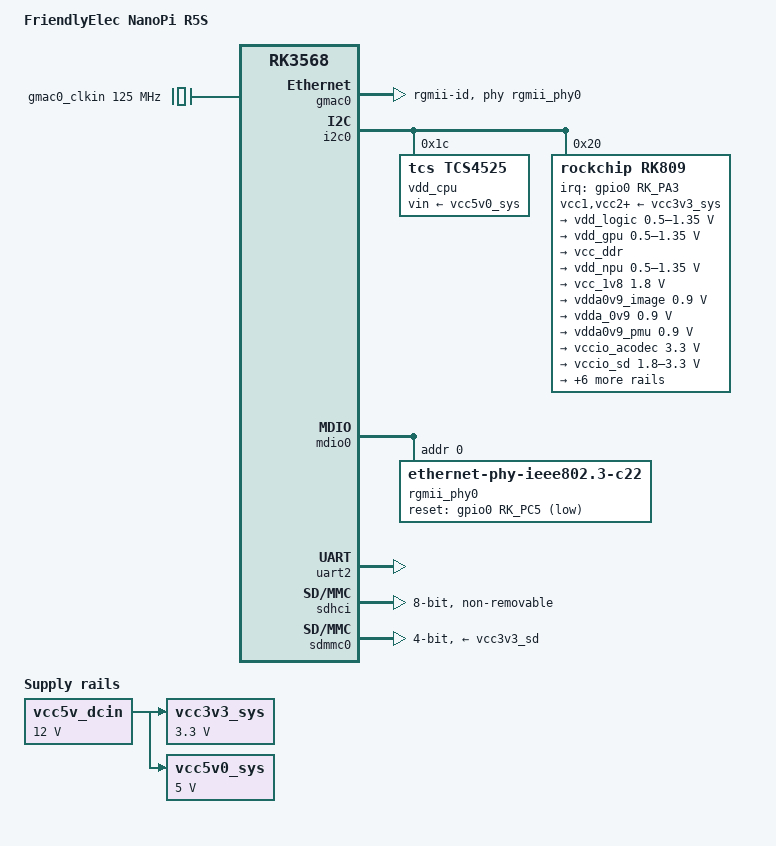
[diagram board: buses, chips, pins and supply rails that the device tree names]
// SPDX-License-Identifier: (GPL-2.0+ OR MIT)
/*
 * Copyright (c) 2021 Rockchip Electronics Co., Ltd.
 * Copyright (c) 2023 Akash Gajjar <gajjar04akash@gmail.com>
 */

/dts-v1/;
#include <dt-bindings/gpio/gpio.h>
#include <dt-bindings/pinctrl/rockchip.h>
#include "rk3568.dtsi"

/ {
	model = "FriendlyElec NanoPi R5S";
	compatible = "friendlyarm,nanopi-r5s", "rockchip,rk3568";

	chosen: chosen {
		stdout-path = "serial2:1500000n8";
	};

	gmac0_clkin: external-gmac0-clock {
		compatible = "fixed-clock";
		clock-frequency = <125000000>;
		clock-output-names = "gmac0_clkin";
		#clock-cells = <0>;
	};

	vcc5v_dcin: vcc12v-dcin-regulator {
		compatible = "regulator-fixed";
		regulator-name = "vcc5v_dcin";
		regulator-always-on;
		regulator-boot-on;
		regulator-min-microvolt = <12000000>;
		regulator-max-microvolt = <12000000>;
	};

	vcc3v3_sys: vcc3v3-sys-regulator {
		compatible = "regulator-fixed";
		regulator-name = "vcc3v3_sys";
		regulator-always-on;
		regulator-boot-on;
		regulator-min-microvolt = <3300000>;
		regulator-max-microvolt = <3300000>;
		vin-supply = <&vcc5v_dcin>;
	};

	vcc5v0_sys: vcc5v0-sys-regulator {
		compatible = "regulator-fixed";
		regulator-name = "vcc5v0_sys";
		regulator-always-on;
		regulator-boot-on;
		regulator-min-microvolt = <5000000>;
		regulator-max-microvolt = <5000000>;
		vin-supply = <&vcc5v_dcin>;
	};
};

&cpu0 {
	cpu-supply = <&vdd_cpu>;
};

&cpu1 {
	cpu-supply = <&vdd_cpu>;
};

&cpu2 {
	cpu-supply = <&vdd_cpu>;
};

&cpu3 {
	cpu-supply = <&vdd_cpu>;
};

&gmac0 {
	assigned-clocks = <&cru SCLK_GMAC0_RX_TX>, <&cru SCLK_GMAC0>;
	assigned-clock-parents = <&cru SCLK_GMAC1_RGMII_SPEED>, <&gmac0_clkin>;
	clock_in_out = "input";
	phy-handle = <&rgmii_phy0>;
	phy-mode = "rgmii-id";
	pinctrl-names = "default";
	status = "okay";
};

&i2c0 {
	status = "okay";

	vdd_cpu: regulator@1c {
		compatible = "tcs,tcs4525";
		reg = <0x1c>;
		fcs,suspend-voltage-selector = <1>;
		regulator-name = "vdd_cpu";
		regulator-always-on;
		regulator-boot-on;
		regulator-min-microvolt = <800000>;
		regulator-max-microvolt = <1150000>;
		regulator-ramp-delay = <2300>;
		vin-supply = <&vcc5v0_sys>;

		regulator-state-mem {
			regulator-off-in-suspend;
		};
	};

	rk809: pmic@20 {
		compatible = "rockchip,rk809";
		reg = <0x20>;
		interrupt-parent = <&gpio0>;
		interrupts = <RK_PA3 IRQ_TYPE_LEVEL_LOW>;
		#clock-cells = <1>;
		clock-names = "mclk";
		clocks = <&cru I2S1_MCLKOUT_TX>;
		pinctrl-names = "default";
		pinctrl-0 = <&pmic_int>;
		rockchip,system-power-controller;
		#sound-dai-cells = <0>;
		vcc1-supply = <&vcc3v3_sys>;
		vcc2-supply = <&vcc3v3_sys>;
		vcc3-supply = <&vcc3v3_sys>;
		vcc4-supply = <&vcc3v3_sys>;
		vcc5-supply = <&vcc3v3_sys>;
		vcc6-supply = <&vcc3v3_sys>;
		vcc7-supply = <&vcc3v3_sys>;
		vcc8-supply = <&vcc3v3_sys>;
		vcc9-supply = <&vcc3v3_sys>;
		wakeup-source;

		regulators {
			vdd_logic: DCDC_REG1 {
				regulator-name = "vdd_logic";
				regulator-always-on;
				regulator-boot-on;
				regulator-init-microvolt = <900000>;
				regulator-initial-mode = <0x2>;
				regulator-min-microvolt = <500000>;
				regulator-max-microvolt = <1350000>;
				regulator-ramp-delay = <6001>;

				regulator-state-mem {
					regulator-off-in-suspend;
				};
			};

			vdd_gpu: DCDC_REG2 {
				regulator-name = "vdd_gpu";
				regulator-always-on;
				regulator-init-microvolt = <900000>;
				regulator-initial-mode = <0x2>;
				regulator-min-microvolt = <500000>;
				regulator-max-microvolt = <1350000>;
				regulator-ramp-delay = <6001>;

				regulator-state-mem {
					regulator-off-in-suspend;
				};
			};

			vcc_ddr: DCDC_REG3 {
				regulator-name = "vcc_ddr";
				regulator-always-on;
				regulator-boot-on;
				regulator-initial-mode = <0x2>;

				regulator-state-mem {
					regulator-on-in-suspend;
				};
			};

			vdd_npu: DCDC_REG4 {
				regulator-name = "vdd_npu";
				regulator-init-microvolt = <900000>;
				regulator-initial-mode = <0x2>;
				regulator-min-microvolt = <500000>;
				regulator-max-microvolt = <1350000>;
				regulator-ramp-delay = <6001>;

				regulator-state-mem {
					regulator-off-in-suspend;
				};
			};

			vcc_1v8: DCDC_REG5 {
				regulator-name = "vcc_1v8";
				regulator-always-on;
				regulator-boot-on;
				regulator-min-microvolt = <1800000>;
				regulator-max-microvolt = <1800000>;

				regulator-state-mem {
					regulator-off-in-suspend;
				};
			};

			vdda0v9_image: LDO_REG1 {
				regulator-name = "vdda0v9_image";
				regulator-min-microvolt = <900000>;
				regulator-max-microvolt = <900000>;

				regulator-state-mem {
					regulator-off-in-suspend;
				};
			};

			vdda_0v9: LDO_REG2 {
				regulator-name = "vdda_0v9";
				regulator-always-on;
				regulator-boot-on;
				regulator-min-microvolt = <900000>;
				regulator-max-microvolt = <900000>;

				regulator-state-mem {
					regulator-off-in-suspend;
				};
			};

			vdda0v9_pmu: LDO_REG3 {
				regulator-name = "vdda0v9_pmu";
				regulator-always-on;
				regulator-boot-on;
				regulator-min-microvolt = <900000>;
				regulator-max-microvolt = <900000>;

				regulator-state-mem {
					regulator-on-in-suspend;
					regulator-suspend-microvolt = <900000>;
				};
			};

			vccio_acodec: LDO_REG4 {
				regulator-name = "vccio_acodec";
				regulator-always-on;
				regulator-min-microvolt = <3300000>;
				regulator-max-microvolt = <3300000>;

				regulator-state-mem {
					regulator-off-in-suspend;
				};
			};

			vccio_sd: LDO_REG5 {
				regulator-name = "vccio_sd";
				regulator-min-microvolt = <1800000>;
				regulator-max-microvolt = <3300000>;

				regulator-state-mem {
					regulator-off-in-suspend;
				};
			};

			vcc3v3_pmu: LDO_REG6 {
				regulator-name = "vcc3v3_pmu";
				regulator-always-on;
				regulator-boot-on;
				regulator-min-microvolt = <3300000>;
				regulator-max-microvolt = <3300000>;

				regulator-state-mem {
					regulator-on-in-suspend;
					regulator-suspend-microvolt = <3300000>;
				};
			};

			vcca_1v8: LDO_REG7 {
				regulator-name = "vcca_1v8";
				regulator-always-on;
				regulator-boot-on;
				regulator-min-microvolt = <1800000>;
				regulator-max-microvolt = <1800000>;

				regulator-state-mem {
					regulator-off-in-suspend;
				};
			};

			vcca1v8_pmu: LDO_REG8 {
				regulator-name = "vcca1v8_pmu";
				regulator-always-on;
				regulator-boot-on;
				regulator-min-microvolt = <1800000>;
				regulator-max-microvolt = <1800000>;

				regulator-state-mem {
					regulator-on-in-suspend;
					regulator-suspend-microvolt = <1800000>;
				};
			};

			vcca1v8_image: LDO_REG9 {
				regulator-name = "vcca1v8_image";
				regulator-min-microvolt = <1800000>;
				regulator-max-microvolt = <1800000>;

				regulator-state-mem {
					regulator-off-in-suspend;
				};
			};

			vcc_3v3: SWITCH_REG1 {
				regulator-name = "vcc_3v3";
				regulator-always-on;
				regulator-boot-on;

				regulator-state-mem {
					regulator-off-in-suspend;
				};
			};

			vcc3v3_sd: SWITCH_REG2 {
				regulator-name = "vcc3v3_sd";

				regulator-state-mem {
					regulator-off-in-suspend;
				};
			};
		};
	};
};

&mdio0 {
	rgmii_phy0: ethernet-phy@0 {
		compatible = "ethernet-phy-ieee802.3-c22";
		reg = <0x0>;
		pinctrl-names = "default";
		pinctrl-0 = <&eth_phy_rst>;
		reset-assert-us = <20000>;
		reset-deassert-us = <100000>;
		reset-gpios = <&gpio0 RK_PC5 GPIO_ACTIVE_LOW>;
	};
};

&pinctrl {
	ethernet {
		eth_phy_rst: eth_phy_rst {
			rockchip,pins = <0 RK_PC5 RK_FUNC_GPIO &pcfg_pull_none>;
		};
	};

	leds {
		led_user_en: led_user_en {
			rockchip,pins = <0 RK_PB7 RK_FUNC_GPIO &pcfg_pull_none>;
		};
	};

	pmic {
		pmic_int: pmic_int {
			rockchip,pins =
				<0 RK_PA3 RK_FUNC_GPIO &pcfg_pull_up>;
		};
	};
};

&pmu_io_domains {
	pmuio1-supply = <&vcc3v3_pmu>;
	pmuio2-supply = <&vcc3v3_pmu>;
	vccio1-supply = <&vccio_acodec>;
	vccio2-supply = <&vcc_1v8>;
	vccio3-supply = <&vccio_sd>;
	vccio4-supply = <&vcc_1v8>;
	vccio5-supply = <&vcc_3v3>;
	vccio6-supply = <&vcc_1v8>;
	vccio7-supply = <&vcc_3v3>;
	status = "okay";
};

&uart2 {
	status = "okay";
};

&sdhci {
	bus-width = <8>;
	max-frequency = <200000000>;
	non-removable;
	pinctrl-names = "default";
	pinctrl-0 = <&emmc_bus8 &emmc_clk &emmc_cmd>;
	status = "okay";
};

&sdmmc0 {
	bus-width = <4>;
	cap-sd-highspeed;
	disable-wp;
	pinctrl-names = "default";
	pinctrl-0 = <&sdmmc0_bus4 &sdmmc0_clk &sdmmc0_cmd &sdmmc0_det>;
	sd-uhs-sdr104;
	vmmc-supply = <&vcc3v3_sd>;
	vqmmc-supply = <&vccio_sd>;
	status = "okay";
};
